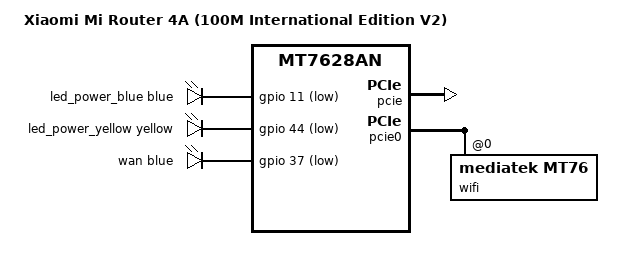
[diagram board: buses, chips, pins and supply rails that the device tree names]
// SPDX-License-Identifier: GPL-2.0-or-later OR MIT

#include <dt-bindings/leds/common.h>

#include "mt7628an_xiaomi_mi-router-4.dtsi"
/ {
	compatible = "xiaomi,mi-router-4a-100m-intl-v2", "mediatek,mt7628an-soc";
	model = "Xiaomi Mi Router 4A (100M International Edition V2)";

	aliases {
		led-boot = &led_power_yellow;
		led-failsafe = &led_power_yellow;
		led-running = &led_power_blue;
		led-upgrade = &led_power_yellow;
		label-mac-device = &ethernet;
	};

	leds {
		compatible = "gpio-leds";

		led_power_blue: power_blue {
			color = <LED_COLOR_ID_BLUE>;
			function = LED_FUNCTION_POWER;
			gpios = <&gpio 11 GPIO_ACTIVE_LOW>;
		};

		led_power_yellow: power_yellow {
			color = <LED_COLOR_ID_YELLOW>;
			function = LED_FUNCTION_POWER;
			gpios = <&gpio 44 GPIO_ACTIVE_LOW>;
		};

		wan {
			color = <LED_COLOR_ID_BLUE>;
			function = LED_FUNCTION_WAN;
			gpios = <&gpio 37 GPIO_ACTIVE_LOW>;
		};
	};

};

&partitions {
	partition@60000 {
		label = "overlay";
		reg = <0x60000 0x100000>;
		read-only;
	};

	partition@160000 {
		label = "firmware";
		reg = <0x160000 0xea0000>;
		compatible = "denx,uimage";
	};
};

&pcie {
	status = "okay";
};

&pcie0 {
	wifi@0,0 {
		compatible = "mediatek,mt76";
		reg = <0x0000 0 0 0 0>;
		mediatek,mtd-eeprom = <&factory 0x8000>;
		ieee80211-freq-limit = <5000000 6000000>;
	};
};

&ethernet {
	nvmem-cells = <&macaddr_factory_4>;
	nvmem-cell-names = "mac-address";
	mac-address-increment = <(-1)>;
};

&esw {
	mediatek,portmap = <0x3e>;
	mediatek,portdisable = <0x2a>;
};

&factory {
	compatible = "nvmem-cells";
	#address-cells = <1>;
	#size-cells = <1>;

	macaddr_factory_4: macaddr@4 {
		reg = <0x4 0x6>;
	};

	eeprom_factory_8000: eeprom@8000 {
		reg = <0x8000 0x4da8>;
	};

};

&eeprom_factory_8000 {
	/* MT7613 has different eeprom size '0x4da8'			*/
	/* See https://github.com/openwrt/openwrt/pull/13587		*/
	/* You can also see this in mt76/mt7615/eeprom.h:		*/
	/* MT7615_EEPROM_FULL_SIZE = MT7615_EEPROM_TXDPD_OFFSET + \	*/
	/*       MT7615_EEPROM_TXDPD_COUNT * MT7615_EEPROM_TXDPD_SIZE	*/
	/* where MT7615_EEPROM_TXDPD_OFFSET is 1024 + 256 * 34 = 9728:	*/
	/*   MT7615_EEPROM_SIZE(1024 defined in mt7615.h) + \		*/
	/*   MT7615_EEPROM_DCOC_COUNT(34) * MT7615_EEPROM_DCOC_SIZE(256)*/
	/* where MT7615_EEPROM_TXDPD_COUNT = 44 + 3 = 47		*/
	/* and MT7615_EEPROM_TXDPD_SIZE = 216.				*/
	/* Altogether it will be 19880 or 0x4da8.			*/
	reg = <0x8000 0x4da8>;
};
